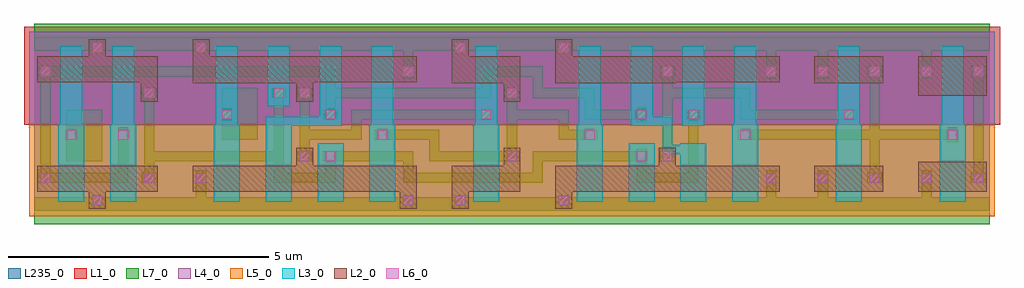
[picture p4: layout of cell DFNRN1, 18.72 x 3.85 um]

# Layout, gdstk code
import gdstk
lib = gdstk.Library(unit=1e-6, precision=1e-09)
def R(c, l, rs):  # rectangles x0, y0, x1, y1
    for r in rs: c.add(gdstk.rectangle(r[:2], r[2:], *l))
def A(c, l, x, y, w, h, nx, ny, dx, dy):  # array of equal rectangles
    R(c, l, [(x+i*dx, y+j*dy, x+i*dx+w, y+j*dy+h) for i in range(nx) for j in range(ny)])
def P(c, l, *ps):  # polygons
    for p in ps: c.add(gdstk.Polygon(p, *l))
L1_0 = (1, 0)
L2_0 = (2, 0)
L3_0 = (3, 0)
L4_0 = (4, 0)
L5_0 = (5, 0)
L6_0 = (6, 0)
L7_0 = (7, 0)
L235_0 = (235, 0)

dfnrn1 = lib.new_cell('DFNRN1')
R(dfnrn1, L1_0, [(-0.2,1.653,18.518,3.532)])
R(dfnrn1, L2_0, [(14.96,0.363,16.28,0.863), (16.948,0.363,18.268,0.943), (16.948,2.209,18.268,2.969), (14.96,2.449,16.28,2.969)])
P(dfnrn1, L2_0, [(1.044,0.036),(1.044,0.363),(0.05,0.363),(0.05,0.863),(2.364,0.863),(2.364,0.363),(1.37,0.363),(1.37,0.036)],
  [(7.008,0.036),(7.008,0.363),(3.032,0.363),(3.032,0.863),(5.02,0.863),(5.02,1.209),(5.346,1.209),(5.346,0.863),(7.334,0.863),(7.334,0.036)],
  [(8.002,0.036),(8.002,0.863),(8.996,0.863),(8.996,1.209),(9.322,1.209),(9.322,0.363),(8.328,0.363),(8.328,0.036)],
  [(9.99,0.036),(9.99,0.863),(11.978,0.863),(11.978,1.209),(12.304,1.209),(12.304,0.863),(14.292,0.863),(14.292,0.363),(10.316,0.363),(10.316,0.036)],
  [(2.038,2.097),(2.038,2.469),(0.05,2.469),(0.05,2.969),(1.044,2.969),(1.044,3.296),(1.37,3.296),(1.37,2.969),(2.364,2.969),(2.364,2.097)],
  [(5.02,2.097),(5.02,2.449),(3.032,2.449),(3.032,3.296),(3.358,3.296),(3.358,2.969),(7.334,2.969),(7.334,2.469),(5.346,2.469),(5.346,2.097)],
  [(8.996,2.097),(8.996,2.449),(8.002,2.449),(8.002,3.296),(8.328,3.296),(8.328,2.969),(9.322,2.969),(9.322,2.097)],
  [(9.99,2.449),(9.99,3.296),(10.316,3.296),(10.316,2.969),(14.292,2.969),(14.292,2.469),(12.304,2.469),(12.304,2.449)])
R(dfnrn1, L3_0, [(5.43,0.177,5.93,1.296), (11.394,0.177,11.894,1.296), (12.428,1.637,12.848,3.155), (4.476,2.01,4.896,3.155)])
P(dfnrn1, L3_0, [(0.46,0.177),(0.46,1.653),(0.5,1.653),(0.5,3.155),(0.92,3.155),(0.92,1.653),(0.96,1.653),(0.96,0.177)],
  [(1.454,0.177),(1.454,1.653),(1.494,1.653),(1.494,3.155),(1.914,3.155),(1.914,1.653),(1.954,1.653),(1.954,0.177)],
  [(3.442,0.177),(3.442,1.653),(3.482,1.653),(3.482,3.155),(3.902,3.155),(3.902,1.653),(3.942,1.653),(3.942,0.177)],
  [(4.436,0.177),(4.436,1.809),(5.47,1.809),(5.47,3.155),(5.89,3.155),(5.89,1.629),(4.936,1.629),(4.936,0.177)],
  [(6.424,0.177),(6.424,1.653),(6.464,1.653),(6.464,3.155),(6.884,3.155),(6.884,1.653),(6.924,1.653),(6.924,0.177)],
  [(8.412,0.177),(8.412,1.653),(8.452,1.653),(8.452,3.155),(8.872,3.155),(8.872,1.653),(8.912,1.653),(8.912,0.177)],
  [(10.4,0.177),(10.4,1.653),(10.44,1.653),(10.44,3.155),(10.86,3.155),(10.86,1.653),(10.9,1.653),(10.9,0.177)],
  [(12.388,0.177),(12.388,1.084),(12.051,1.084),(12.051,1.629),(11.434,1.629),(11.434,3.155),(11.854,3.155),(11.854,1.809),(12.231,1.809),(12.231,1.264),(12.388,1.264),(12.388,1.296),(12.888,1.296),(12.888,0.177)],
  [(13.382,0.177),(13.382,1.653),(13.422,1.653),(13.422,3.155),(13.842,3.155),(13.842,1.653),(13.882,1.653),(13.882,0.177)],
  [(15.37,0.177),(15.37,1.653),(15.41,1.653),(15.41,3.155),(15.83,3.155),(15.83,1.653),(15.87,1.653),(15.87,0.177)],
  [(17.358,0.177),(17.358,1.653),(17.398,1.653),(17.398,3.155),(17.818,3.155),(17.818,1.653),(17.858,1.653),(17.858,0.177)])
R(dfnrn1, L4_0, [(-0.1,1.653,18.418,3.432)])
R(dfnrn1, L5_0, [(-0.1,-0.1,18.418,1.653)])
A(dfnrn1, L6_0, 14.036, 0.54, 0.186, 0.186, 5, 2, 0.994, 2.04)
A(dfnrn1, L6_0, 5.587, 1.754, 0.186, 0.186, 3, 1, 2.982, 0)
R(dfnrn1, L6_0, [(1.114,0.106,1.3,0.292), (7.078,0.106,7.264,0.292), (8.072,0.106,8.258,0.292), (10.06,0.106,10.246,0.292), (0.12,0.54,0.306,0.726), (2.108,0.54,2.294,0.726), (3.102,0.54,3.288,0.726), (5.09,0.953,5.276,1.139), (5.587,0.953,5.773,1.139), (9.066,0.953,9.252,1.139), (11.551,0.953,11.737,1.139), (12.048,0.953,12.234,1.139), (0.617,1.366,0.803,1.552), (1.611,1.366,1.797,1.552), (6.581,1.366,6.767,1.552), (10.557,1.366,10.743,1.552), (13.539,1.366,13.725,1.552), (17.515,1.366,17.701,1.552), (3.599,1.754,3.785,1.94), (12.545,1.754,12.731,1.94), (15.527,1.754,15.713,1.94), (2.108,2.167,2.294,2.353), (4.593,2.167,4.779,2.353), (5.09,2.167,5.276,2.353), (9.066,2.167,9.252,2.353), (0.12,2.58,0.306,2.766), (7.078,2.58,7.264,2.766), (12.048,2.58,12.234,2.766), (1.114,3.04,1.3,3.226), (3.102,3.04,3.288,3.226), (8.072,3.04,8.258,3.226), (10.06,3.04,10.246,3.226)])
R(dfnrn1, L7_0, [(0.613,0.949,1.304,1.944), (3.595,1.362,4.286,2.357)])
P(dfnrn1, L7_0, [(0,-0.26),(0,0.26),(1.11,0.26),(1.11,0.296),(1.304,0.296),(1.304,0.26),(3.098,0.26),(3.098,0.776),(3.292,0.776),(3.292,0.26),(7.074,0.26),(7.074,0.296),(7.268,0.296),(7.268,0.26),(8.068,0.26),(8.068,0.296),(8.262,0.296),(8.262,0.26),(10.056,0.26),(10.056,0.296),(10.25,0.296),(10.25,0.26),(14.032,0.26),(14.032,0.776),(14.226,0.776),(14.226,0.26),(15.026,0.26),(15.026,0.776),(15.22,0.776),(15.22,0.26),(17.014,0.26),(17.014,0.776),(17.208,0.776),(17.208,0.26),(18.318,0.26),(18.318,-0.26)],
  [(2.054,0.536),(2.054,0.73),(2.104,0.73),(2.104,2.163),(2.054,2.163),(2.054,2.357),(2.348,2.357),(2.348,2.163),(2.298,2.163),(2.298,1.143),(4.589,1.143),(4.589,2.163),(4.539,2.163),(4.539,2.357),(4.833,2.357),(4.833,2.163),(4.783,2.163),(4.783,0.73),(5.583,0.73),(5.583,0.949),(5.533,0.949),(5.533,1.143),(7.268,1.143),(7.268,0.73),(9.559,0.73),(9.559,1.143),(11.547,1.143),(11.547,1.193),(11.741,1.193),(11.741,0.73),(12.541,0.73),(12.541,1.75),(12.491,1.75),(12.491,1.944),(12.785,1.944),(12.785,1.75),(12.735,1.75),(12.735,0.536),(11.547,0.536),(11.547,0.949),(9.753,0.949),(9.753,0.536),(7.074,0.536),(7.074,0.949),(5.777,0.949),(5.777,0.536),(4.589,0.536),(4.589,0.949),(2.298,0.949),(2.298,0.73),(2.348,0.73),(2.348,0.536)],
  [(5.036,0.949),(5.036,1.143),(5.086,1.143),(5.086,2.163),(5.036,2.163),(5.036,2.357),(5.33,2.357),(5.33,2.163),(5.28,2.163),(5.28,1.556),(6.08,1.556),(6.08,1.944),(8.809,1.944),(8.809,1.75),(6.274,1.75),(6.274,1.362),(5.28,1.362),(5.28,1.143),(5.33,1.143),(5.33,0.949)],
  [(7.571,0.949),(7.571,1.362),(6.527,1.362),(6.527,1.556),(7.765,1.556),(7.765,1.143),(9.062,1.143),(9.062,2.163),(9.012,2.163),(9.012,2.357),(9.306,2.357),(9.306,2.163),(9.256,2.163),(9.256,1.944),(10.25,1.944),(10.25,1.556),(10.797,1.556),(10.797,1.362),(10.056,1.362),(10.056,1.75),(9.256,1.75),(9.256,1.143),(9.306,1.143),(9.306,0.949)],
  [(0.066,0.536),(0.066,0.73),(0.116,0.73),(0.116,2.576),(0.066,2.576),(0.066,2.77),(5.777,2.77),(5.777,2.357),(8.565,2.357),(8.565,2.77),(9.753,2.77),(9.753,2.357),(10.747,2.357),(10.747,1.944),(11.547,1.944),(11.547,1.994),(11.741,1.994),(11.741,1.7),(11.547,1.7),(11.547,1.75),(10.553,1.75),(10.553,2.163),(9.559,2.163),(9.559,2.576),(8.759,2.576),(8.759,2.163),(5.777,2.163),(5.777,1.944),(5.827,1.944),(5.827,1.75),(5.533,1.75),(5.533,1.944),(5.583,1.944),(5.583,2.576),(0.31,2.576),(0.31,0.73),(1.607,0.73),(1.607,1.606),(1.801,1.606),(1.801,0.536)],
  [(11.994,0.949),(11.994,1.143),(12.044,1.143),(12.044,2.576),(11.994,2.576),(11.994,2.77),(12.288,2.77),(12.288,2.576),(12.238,2.576),(12.238,2.357),(13.729,2.357),(13.729,1.944),(15.767,1.944),(15.767,1.75),(13.535,1.75),(13.535,2.163),(12.238,2.163),(12.238,1.143),(12.288,1.143),(12.288,0.949)],
  [(15.97,0.536),(15.97,0.73),(16.02,0.73),(16.02,1.362),(13.485,1.362),(13.485,1.556),(16.02,1.556),(16.02,2.576),(15.97,2.576),(15.97,2.77),(16.264,2.77),(16.264,2.576),(16.214,2.576),(16.214,1.556),(17.511,1.556),(17.511,1.606),(17.705,1.606),(17.705,1.312),(17.511,1.312),(17.511,1.362),(16.214,1.362),(16.214,0.73),(16.264,0.73),(16.264,0.536)],
  [(17.958,0.536),(17.958,0.73),(18.008,0.73),(18.008,2.576),(17.958,2.576),(17.958,2.77),(18.252,2.77),(18.252,2.576),(18.202,2.576),(18.202,0.73),(18.252,0.73),(18.252,0.536)],
  [(7.074,2.53),(7.074,3.072),(3.292,3.072),(3.292,3.036),(3.098,3.036),(3.098,3.072),(1.304,3.072),(1.304,3.036),(1.11,3.036),(1.11,3.072),(0,3.072),(0,3.592),(18.318,3.592),(18.318,3.072),(17.208,3.072),(17.208,2.53),(17.014,2.53),(17.014,3.072),(15.22,3.072),(15.22,2.53),(15.026,2.53),(15.026,3.072),(14.226,3.072),(14.226,2.53),(14.032,2.53),(14.032,3.072),(10.25,3.072),(10.25,3.036),(10.056,3.036),(10.056,3.072),(8.262,3.072),(8.262,3.036),(8.068,3.036),(8.068,3.072),(7.268,3.072),(7.268,2.53)])
R(dfnrn1, L235_0, [(0,0,18.318,3.332)])

lib.write_gds('DFNRN1.gds')
